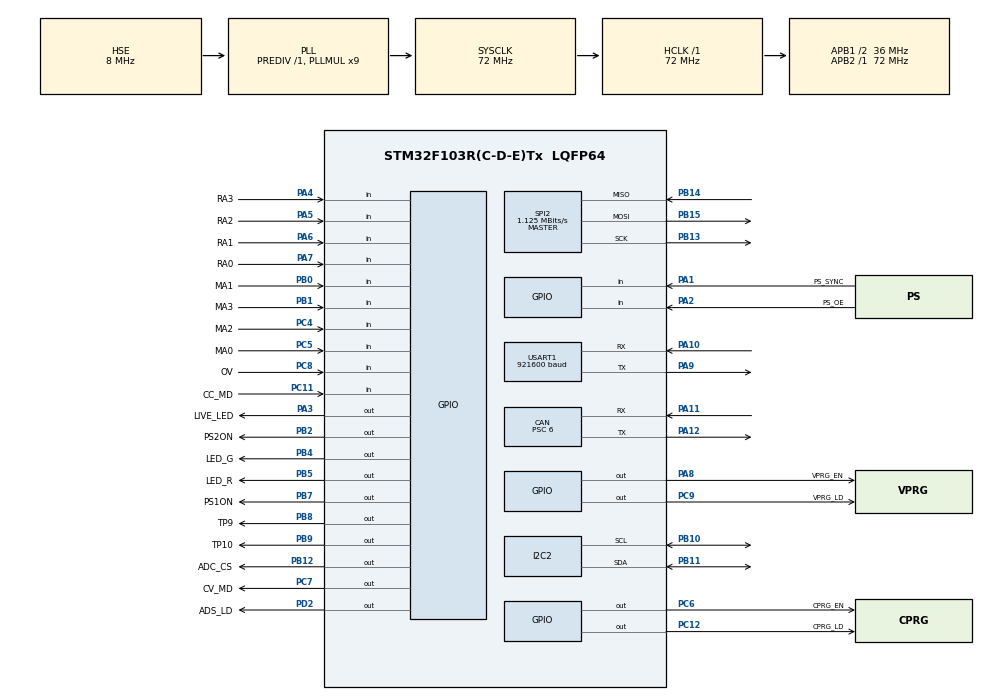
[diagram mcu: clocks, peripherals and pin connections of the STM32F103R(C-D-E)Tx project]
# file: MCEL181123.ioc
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ADC1.Channel-0\#ChannelRegularConversion=ADC_CHANNEL_TEMPSENSOR
ADC1.ContinuousConvMode=ENABLE
ADC1.NbrOfConversionFlag=1
ADC1.Rank-0\#ChannelRegularConversion=1
ADC1.SamplingTime-0\#ChannelRegularConversion=ADC_SAMPLETIME_41CYCLES_5
ADC1.master=1
CAN.BS1=CAN_BS1_8TQ
CAN.BS2=CAN_BS2_3TQ
CAN.CalculateTimeBit=2000
CAN.CalculateTimeQuantum=166.66666666666669
CAN.Prescaler=6
Mcu.Family=STM32F1
Mcu.Name=STM32F103R(C-D-E)Tx
Mcu.Package=LQFP64
NVIC.PriorityGroup=NVIC_PRIORITYGROUP_4
NVIC.USB_LP_CAN1_RX0_IRQn=true\:2\:0\:true\:false\:true\:true\:true
PA1.GPIO_Label=PS_SYNC
PA1.Signal=GPIO_Input
PA10.Mode=Asynchronous
PA10.Signal=USART1_RX
PA11.Mode=Master
PA11.Signal=CAN_RX
PA12.Mode=Master
PA12.Signal=CAN_TX
PA13.Mode=Trace_Asynchronous_SW
PA13.Signal=SYS_JTMS-SWDIO
PA14.Mode=Trace_Asynchronous_SW
PA14.Signal=SYS_JTCK-SWCLK
PA2.GPIO_Label=PS_OE
PA2.Signal=GPIO_Input
PA3.GPIO_Label=LIVE_LED
PA3.Signal=GPIO_Output
PA4.GPIO_Label=RA3
PA4.GPIO_PuPd=GPIO_PULLDOWN
PA4.Signal=GPIO_Input
PA5.GPIO_Label=RA2
PA5.GPIO_PuPd=GPIO_PULLDOWN
PA5.Signal=GPIO_Input
PA6.GPIO_Label=RA1
PA6.GPIO_PuPd=GPIO_PULLDOWN
PA6.Signal=GPIO_Input
PA7.GPIO_Label=RA0
PA7.GPIO_PuPd=GPIO_PULLDOWN
PA7.Signal=GPIO_Input
PA8.GPIO_Label=VPRG_EN
PA8.GPIO_ModeDefaultOutputPP=GPIO_MODE_OUTPUT_OD
PA8.GPIO_Speed=GPIO_SPEED_FREQ_HIGH
PA8.PinState=GPIO_PIN_SET
PA8.Signal=GPIO_Output
PA9.Mode=Asynchronous
PA9.Signal=USART1_TX
PB0.GPIO_Label=MA1
PB0.GPIO_PuPd=GPIO_PULLDOWN
PB0.Signal=GPIO_Input
PB1.GPIO_Label=MA3
PB1.GPIO_PuPd=GPIO_PULLDOWN
PB1.Signal=GPIO_Input
PB10.Mode=I2C
PB10.Signal=I2C2_SCL
PB11.Mode=I2C
PB11.Signal=I2C2_SDA
PB12.GPIO_Label=ADC_CS
PB12.GPIO_ModeDefaultOutputPP=GPIO_MODE_OUTPUT_OD
PB12.GPIO_Speed=GPIO_SPEED_FREQ_HIGH
PB12.PinState=GPIO_PIN_SET
PB12.Signal=GPIO_Output
PB13.Mode=Full_Duplex_Master
PB13.Signal=SPI2_SCK
PB14.Mode=Full_Duplex_Master
PB14.Signal=SPI2_MISO
PB15.Mode=Full_Duplex_Master
PB15.Signal=SPI2_MOSI
PB2.GPIO_Label=PS2ON
PB2.Signal=GPIO_Output
PB3.Mode=Trace_Asynchronous_SW
PB3.Signal=SYS_JTDO-TRACESWO
PB4.GPIO_Label=LED_G
PB4.Signal=GPIO_Output
PB5.GPIO_Label=LED_R
PB5.Signal=GPIO_Output
PB7.GPIO_Label=PS1ON
PB7.Signal=GPIO_Output
PB8.GPIO_Label=TP9
PB8.Signal=GPIO_Output
PB9.GPIO_Label=TP10
PB9.Signal=GPIO_Output
PC11.GPIO_Label=CC_MD
PC11.Signal=GPIO_Input
PC12.GPIO_Label=CPRG_LD
PC12.GPIO_ModeDefaultOutputPP=GPIO_MODE_OUTPUT_OD
PC12.GPIO_Speed=GPIO_SPEED_FREQ_HIGH
PC12.PinState=GPIO_PIN_SET
PC12.Signal=GPIO_Output
PC4.GPIO_Label=MA2
PC4.GPIO_PuPd=GPIO_PULLDOWN
PC4.Signal=GPIO_Input
PC5.GPIO_Label=MA0
PC5.GPIO_PuPd=GPIO_PULLDOWN
PC5.Signal=GPIO_Input
PC6.GPIO_Label=CPRG_EN
PC6.GPIO_ModeDefaultOutputPP=GPIO_MODE_OUTPUT_OD
PC6.GPIO_Speed=GPIO_SPEED_FREQ_HIGH
PC6.PinState=GPIO_PIN_SET
PC6.Signal=GPIO_Output
PC7.GPIO_Label=CV_MD
PC7.Signal=GPIO_Output
PC8.GPIO_Label=OV
PC8.Signal=GPIO_Input
PC9.GPIO_Label=VPRG_LD
PC9.GPIO_ModeDefaultOutputPP=GPIO_MODE_OUTPUT_OD
PC9.GPIO_Speed=GPIO_SPEED_FREQ_HIGH
PC9.PinState=GPIO_PIN_SET
PC9.Signal=GPIO_Output
PD0-OSC_IN.Mode=HSE-External-Oscillator
PD0-OSC_IN.Signal=RCC_OSC_IN
PD1-OSC_OUT.Mode=HSE-External-Oscillator
PD1-OSC_OUT.Signal=RCC_OSC_OUT
PD2.GPIO_Label=ADS_LD
PD2.GPIO_ModeDefaultOutputPP=GPIO_MODE_OUTPUT_OD
PD2.GPIO_Speed=GPIO_SPEED_FREQ_HIGH
PD2.Signal=GPIO_Output
ProjectManager.HeapSize=0x200
ProjectManager.StackSize=0x400
ProjectManager.TargetToolchain=STM32CubeIDE
RCC.ADCPresc=RCC_ADCPCLK2_DIV6
RCC.AHBFreq_Value=72000000
RCC.APB1CLKDivider=RCC_HCLK_DIV2
RCC.APB1Freq_Value=36000000
RCC.APB1TimFreq_Value=72000000
RCC.APB2Freq_Value=72000000
RCC.APB2TimFreq_Value=72000000
RCC.HCLKFreq_Value=72000000
RCC.PLLMUL=RCC_PLL_MUL9
RCC.PLLSourceVirtual=RCC_PLLSOURCE_HSE
RCC.SYSCLKFreq_VALUE=72000000
RCC.SYSCLKSource=RCC_SYSCLKSOURCE_PLLCLK
RCC.USBFreq_Value=72000000
SPI2.BaudRatePrescaler=SPI_BAUDRATEPRESCALER_32
SPI2.CLKPhase=SPI_PHASE_1EDGE
SPI2.CLKPolarity=SPI_POLARITY_LOW
SPI2.CalculateBaudRate=1.125 MBits/s
SPI2.Direction=SPI_DIRECTION_2LINES
SPI2.Mode=SPI_MODE_MASTER
SPI2.VirtualType=VM_MASTER
USART1.BaudRate=921600
USART1.VirtualMode=VM_ASYNC
VP_ADC1_TempSens_Input.Mode=IN-TempSens
board=custom

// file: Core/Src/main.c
/* USER CODE BEGIN Header */
/*
 * main.c
 *
 *  Created on: 2020. márc. 6.
 *      Author: Margit Robert
 */
/* USER CODE END Header */

#include "main.h"

/* USER CODE BEGIN Includes */
#include <stdio.h>
#include <string.h>
#include "common.h"
#include "LiveLed.h"
#include "memory.h"
#include "FlashStore.h"
/* USER CODE END Includes */

ADC_HandleTypeDef hadc1;

CAN_HandleTypeDef hcan;

I2C_HandleTypeDef hi2c2;

SPI_HandleTypeDef hspi2;

UART_HandleTypeDef huart1;

/* USER CODE BEGIN PV */
DeviceTypeDef Device;
LiveLED_HnadleTypeDef hLiveLed;
LedHandle_Type        hLed;

/* USER CODE END PV */

void SystemClock_Config(void);
static void MX_GPIO_Init(void);
static void MX_ADC1_Init(void);
static void MX_CAN_Init(void);
static void MX_I2C2_Init(void);
static void MX_SPI2_Init(void);
static void MX_USART1_UART_Init(void);
/* USER CODE BEGIN PFP */
void LiveLedOff(void);
void LiveLedOn(void);
void LedGreenOn(void);
void LedGreenOff(void);
void LedRedOn(void);
void LedRedOff(void);

void DebugTask(void);
uint8_t GetAddress(void);

void SwitchesSet(uint8_t mask);
void SwitchesClear(uint8_t mask);
uint8_t SelectorGet(void);
void SwitchesUpdate(uint8_t value);
uint32_t AdcGetValue(void);
double AdcGetVoltGen(void);
double AdcGetVolt(void);
uint32_t VDacSetVolt(float volt);
void VDacSet(uint16_t data);
uint32_t CDacSetVolt(float volt);
void CDacSet(uint16_t data);

void Ps1On(void);
void Ps1Off(void);
void Ps2On(void);
void Ps2Off(void);

float Mcp9800Meas(I2C_HandleTypeDef *hi2c);
void Mcp9800Config (I2C_HandleTypeDef *hi2c);

float AdCCmeasControllerTemp(ADC_HandleTypeDef *hadc);

void CanDiagTask(CanHandle_Type *context);

uint8_t CanNetLowLevelTxMailboxIsEmpty(void);

LedItem_Type LedList[] = {
  { HMI_LED_GREEN,    &LedGreenOn,     &LedGreenOff,    },
  { HMI_LED_RED,      &LedRedOn,       &LedRedOff,      },
};

/* USER CODE END PFP */

/* USER CODE BEGIN 0 */
#define TIME_RESOLTUIN_MS 5

void CalibrationOff(void)
{
    Device.Calib.SET01 = 0;
    Device.Calib.SET02 = 0;
    Device.Calib.SET03 = 0;
    Device.Calib.SET04 = 0;
    Device.Calib.SET05 = 0;
    Device.Calib.SET06 = 0;
    Device.Calib.SET07 = 0;
    Device.Calib.SET08 = 0;
    Device.Calib.SET09 = 1;
    Device.Calib.SET10 = 1;
    Device.Calib.SET11 = 1;
    Device.Calib.SET12 = 1;
}

void CalibrationDefault(void)
{
    Device.Calib.SET01 = 0;        /*ReadCvOffsetErr_SET0001*/
    Device.Calib.SET02 = 0;        /*ProgCvOffsetErr_SET0002*/
    Device.Calib.SET03 = 0;        /*ReadCvGainErr_SET0003*/
    Device.Calib.SET04 = 0;        /*ProgCvGainErr_SET0004*/
    Device.Calib.SET05 = 0.008;    /*ReadCcOffsetErrRng0_SET0005*/
    Device.Calib.SET06 = 0.002;    /*ReadCcOffsetErrRng1_SET0006*/
    Device.Calib.SET07 = 0;        /*ProgCcOffsetErrRng0_SET0007*/
    Device.Calib.SET08 = 0;        /*ProgCcOffsetErrRng1_SET0008*/
    Device.Calib.SET09 = 0.9933;   /*ReadCcGainErrRng0_SET0009*/
    Device.Calib.SET10 = 1;        /*ProgCctGainErrRng0_SET0010*/
    Device.Calib.SET11 = 1.0030;   /*ReadCcGainErrRng1_SET0011*/
    Device.Calib.SET12 = 1;        /*ProgCcGainErrRng1_SET0012*/
}

void CalibrationSave(void)
{
  if (FlashStoreWrite(FLASH_STORE_CALIB_PAGE_ADDR, &Device.Calib, sizeof(Device.Calib)) != FLASH_STORE_OK)
  {
    DeviceDbgLog("CalibrationSave: Success");
  }
  else
  {
    DeviceDbgLog("CalibrationSave: Fail");
  }
}

void UpdateStatus(void)
{
  CanNetSendSignal(&Device.CanNet, Device.ThisNode, 0, MSG_MCEL_RANGE,  &Device.PowerCtrl.Range); /*0x03*/
  CanNetSendSignal(&Device.CanNet, Device.ThisNode, 0, MSG_MCEL_TEMP_TR,&Device.TransistorTemp);  /*0x05*/
  CanNetSendSignal(&Device.CanNet, Device.ThisNode, 0, MSG_MCEL_TEMP_UC,&Device.ControllerTemp);  /*0x06*/
  CanNetSendSignal(&Device.CanNet, Device.ThisNode, 0, MSG_MCEL_STA_CC, &Device.PowerCtrl.CC);    /*0x07*/
  CanNetSendSignal(&Device.CanNet, Device.ThisNode, 0, MSG_MCEL_STA_CV, &Device.PowerCtrl.CV);    /*0x08*/
  CanNetSendSignal(&Device.CanNet, Device.ThisNode, 0, MSG_MCEL_STA_OE, &Device.PowerCtrl.OE);    /*0x09*/
  CanNetSendSignal(&Device.CanNet, Device.ThisNode, 0, MSG_MCEL_VER,    &Device.Version);         /*0xFE*/
}

/* Events  -------------------------------------------------------------------*/
void RxTestMsgIncomeEvent(void)
{
  Device.Can.RxTestCnt++;
}

void ChangedEventCVprog(uint8_t node)
{
  uint32_t code = VDacSetVolt(Device.PowerCtrl.CVprog);
  DeviceDbgLog("ChangedEventCVprog: %f -> 0x%05lX", Device.PowerCtrl.CVprog, code);
}

void ChangedEventCCprog(uint8_t node)
{
  if(Device.PowerCtrl.Range == 0)
  {/*mivel a 100mA-es méréshatárnál a shunt 5OHM és igy 5V => 100mA*/
    /*** 0 ... 99.999***/
    Device.PowerCtrl.CCprog /= 20;
  }
  else if(Device.PowerCtrl.Range == 1)
  { /*** 0 ... 49.999 ***/
    Device.PowerCtrl.CCprog /= 10;
  }
  uint32_t code = CDacSetVolt(Device.PowerCtrl.CCprog);
  DeviceDbgLog("ChangedEventCCprog: %f -> 0x%05lX", Device.PowerCtrl.CCprog, code);
}

void ChangedEventCrng(uint8_t node)
{
  if(Device.PowerCtrl.Range == 0)
  {
    SwitchesClear(BSP_RY2_MASK);
    SwitchesSet(BSP_RY1_MASK);
  }
  else if(Device.PowerCtrl.Range == 1)
  {
    SwitchesClear(BSP_RY1_MASK);
    SwitchesSet(BSP_RY2_MASK);
  }
  DeviceDbgLog("ChangedEventCrng: %d", Device.PowerCtrl.Range);
}

void ChangedEventRSense(uint8_t node)
{
  if(Device.PowerCtrl.RSense)
  {
    SwitchesSet(BSP_RY4RY5_MASK);
    DeviceDbgLog("ChangedEventRSense: ON");
  }
  else
  {
    SwitchesClear(BSP_RY4RY5_MASK);
    DeviceDbgLog("ChangedEventRSense: OFF");
  }
}

void ChangedEventOE(uint8_t node)
{
  if(Device.PowerCtrl.OE == MCEL_OE_TYPE_ON)
  {
    /*** previoius sates set back */
    ChangedEventRSense(0);
    ChangedEventCVprog(0);
    /*** 12V ON ***/
    Ps2On();
    DeviceDbgLog("ChangedEventOE: ON");
  }
  else if (Device.PowerCtrl.OE == MCEL_OE_TYPE_OFF)
  {
    VDacSetVolt(0);
    /*** 12V OFF ***/
    Ps2Off();
    /*** SNESE OFF ***/
    SwitchesClear(BSP_RY4RY5_MASK);
    DeviceDbgLog("ChangedEventOE: OFF");
  }
  else if (Device.PowerCtrl.OE == MCEL_OE_TYPE_UP)
  {
    ChangedEventRSense(0);
    /*** 12V ON ***/
    Ps2On();
    PowerCtrl_Type *ctrl = &Device.PowerCtrl;
    ctrl->Speed.Iterations = 0;
    ctrl->Speed.IsCplt = 0;
    ctrl->Speed.Timestamp = HAL_GetTick();
    ctrl->Speed.Step =  (ctrl->Speed.UpSp/1000) * TIME_RESOLTUIN_MS;
    ctrl->Speed.TotalIter = ctrl->CVprog / ctrl->Speed.Step;
    ctrl->Speed.OutVolt = 0;
    DeviceDbgLog("ChangedEventOE: RiseUp");
  }
  else if (Device.PowerCtrl.OE == MCEL_OE_TYPE_DOWN)
  {
    ChangedEventRSense(0);
    /*** 12V ON ***/
    Ps2On();
    PowerCtrl_Type *ctrl = &Device.PowerCtrl;
    ctrl->Speed.Iterations = 0;
    ctrl->Speed.IsCplt = 0;
    ctrl->Speed.Timestamp = HAL_GetTick();
    ctrl->Speed.Step =  (ctrl->Speed.DownSp/1000) * TIME_RESOLTUIN_MS;
    ctrl->Speed.TotalIter = ctrl->CVprog / ctrl->Speed.Step;
    ctrl->Speed.OutVolt = ctrl->CVprog;
    DeviceDbgLog("ChangedEventOE: RiseDown");
  }
}

void ChangedEventGD(uint8_t node)
{
  if (Device.PowerCtrl.GD == 0)
  {
    SwitchesSet(BSP_GUARD);
    DeviceDbgLog("ChangedEventGD: OFF");
  }
  else
  {
    SwitchesClear(BSP_GUARD);
    DeviceDbgLog("ChangedEventGD: ON");
  }
}

void ChangedEventTrigger(uint8_t node)
{
  if(Device.PowerCtrl.Trigger == MEAS_MODE_CV)
  {/*** Trigger meas output volt***/
      SwitchesClear(BSP_U11B_MASK);
      SwitchesSet(BSP_U11D_MASK);
  }
  else if (Device.PowerCtrl.Trigger == MEAS_MODE_CC)
  {/*** Trigger meas output current ***/
      SwitchesClear(BSP_U11D_MASK);
      SwitchesSet(BSP_U11B_MASK);
  }
  else if(Device.PowerCtrl.Trigger == MEAS_MODE_CC_OFFSET)
  {
    /*** Trigger meas output current offset ***/
      SwitchesClear(BSP_U11D_MASK | BSP_RY1_MASK | BSP_RY2_MASK);
      SwitchesSet(BSP_U11B_MASK);
  }
  else if(Device.PowerCtrl.Trigger == MEAS_MODE_CC_ST_R79)
  {   /*** Trigger measure current on  MEAS_MODE_CC_ST_R79 ***/
      SwitchesClear(BSP_U11D_MASK |
                       BSP_RY1_MASK |
                       BSP_RY4RY5_MASK |
                       BSP_RY3_MASK);
      SwitchesSet(  BSP_U11B_MASK |
                       BSP_RY2_MASK |
                       BSP_RY6_MASK);
  }
  else if(Device.PowerCtrl.Trigger == MEAS_MODE_CC_ST_R80)
  {  /*** Trigger measure current on  MEAS_MODE_CC_ST_R80 ***/
      SwitchesClear(BSP_U11D_MASK |
                       BSP_RY2_MASK |
                       BSP_RY4RY5_MASK|
                       BSP_RY6_MASK);
      SwitchesSet(  BSP_U11B_MASK |
                       BSP_RY1_MASK |
                       BSP_RY3_MASK);
  }

  DeviceDbgLog("ChangedEventTrigger: %d", Device.PowerCtrl.Trigger);
  if( Device.PowerCtrl.State.Curr == SDEV_IDLE)
  {
    Device.PowerCtrl.State.Next = SDEV_MEAS_START;
  }
  else
  {
    DeviceDbgLog("Trigger NotValid.");
  }
}

void ChangedEventServices(uint8_t node)
{
  DeviceDbgLog("ChangedEventServices: %ld", Device.ServiceCode);
  switch(Device.ServiceCode)
  {
    case SRV_RESTART:
    {
      NVIC_SystemReset();
      DeviceDbgLog("ChangedEventServices: NVIC_SystemReset");
      break;
    }
    case SRV_UPDATE_STATUS:
    {
      UpdateStatus();
      break;
    }
    case SRV_CALIB_SAVE:
    {
      CalibrationSave();
      break;
    }
    case SRV_CALIB_OFF:
    {
      CalibrationOff();
      break;
    }
    case SRV_CALIB_DEFAULT:
    {
      CalibrationDefault();
      break;
    }
  }
}

/* Power Control -------------------------------------------------------------*/
void PowerControlRiseUpTask(PowerCtrl_Type *ctrl)
{
  if((ctrl->OE == MCEL_OE_TYPE_UP || ctrl->OE == MCEL_OE_TYPE_DOWN) && !ctrl->Speed.IsCplt)
  {
    if(HAL_GetTick() - ctrl->Speed.Timestamp > TIME_RESOLTUIN_MS)
    {
      ctrl->Speed.Timestamp = HAL_GetTick();
      if(ctrl->Speed.Iterations > ctrl->Speed.TotalIter - 1)
      {
        ctrl->Speed.IsCplt = 1;
      }
      else
      {
        if(ctrl->OE == MCEL_OE_TYPE_UP)
        {
          ctrl->Speed.OutVolt += ctrl->Speed.Step;
          ctrl->Speed.Iterations++;
          VDacSetVolt(ctrl->Speed.OutVolt);
        }
        else if(ctrl->OE == MCEL_OE_TYPE_DOWN)
        {
          ctrl->Speed.OutVolt -= ctrl->Speed.Step;
          ctrl->Speed.Iterations++;
          VDacSetVolt(ctrl->Speed.OutVolt);
        }
      }
    }
  }
}

void PowerControlTask(PowerCtrl_Type *ctrl)
{
  static int32_t timestamp = 0;
  static double adcvalue = 0;
  char str[10];
  switch (ctrl->State.Curr)
  {
    case SDEV_START:
    {
      if(HAL_GetTick() - timestamp > 1000)
      {
        Ps1On(); /*+15V, -15V, 5.5V ON*/
        ctrl->CVprog = 0.0;
        if(HAL_GetTick() - timestamp > 2000)
        {
          ctrl->State.Next = SDEV_IDLE;
          DeviceDbgLog("PowerControlTask: SDEV_IDLE -> SDEV_OUTPUT_OFF");
        }
      }
      break;
    }

    case SDEV_DBG1:
    {
      SwitchesSet(BSP_RY1_MASK); /*** RANGE 5OHM ***/
      VDacSetVolt(2.5);
      CDacSetVolt(2.5);
      Ps2On(); /*** 12V ON ***/
      ctrl->State.Next = SDEV_IDLE;
      DeviceDbgLog("PowerControlTask: SDEV_DBG1 -> SDEV_IDLE");
      break;
    }
    case SDEV_DBG2:
    {
      Device.PowerCtrl.CVprog = 2.5;
      ChangedEventCVprog(0);

      Device.PowerCtrl.Range = 0;
      ChangedEventCrng(0);

      Device.PowerCtrl.CCprog = 99;
      ChangedEventCCprog(0);

      Device.PowerCtrl.OE = 1;
      ChangedEventOE(0);

      Device.PowerCtrl.Trigger = MEAS_MODE_CC_OFFSET;
      ChangedEventTrigger(0);
      DeviceDbgLog("PowerControlTask: SDEV_DBG2 -> SDEV_IDLE");
      break;
    }
    case SDEV_IDLE:
    {
      if(ctrl->State.Pre != ctrl->State.Curr)
      {
        DeviceDbgLog("PowerControlTask: SDEV_IDLE");
        LedGreenOn();
        LedRedOff();
      }
      break;
    }
    case SDEV_MEAS_START:
    {
      if(ctrl->State.Pre != ctrl->State.Curr)
      {
        timestamp = HAL_GetTick();
        LedRedOn();
        LedGreenOff();
      }
      if(HAL_GetTick() - timestamp > 20)
      {
        adcvalue = AdcGetVoltGen();
        ctrl->State.Next = SDEV_MEAS_BUSY;
        timestamp = HAL_GetTick();
        DeviceDbgLog("PowerControlTask: SDEV_MEAS_START -> SDEV_MEAS_BUSY");
      }
      break;
    }
    case SDEV_MEAS_BUSY:
    {
      if(HAL_GetTick() - timestamp > 250)
      {
        adcvalue = AdcGetVoltGen();
        if( adcvalue != -2)
        {
           ctrl->State.Next = SDEV_MEAS_CPLT;
           DeviceDbgLog("PowerControlTask: SDEV_MEAS_BUSY -> SDEV_MEAS_CPLT");
        }
      }
      break;
    }

    case SDEV_MEAS_CPLT:
    {
      if(ctrl->Trigger == MEAS_MODE_CV)
      {
        /*** Fromating 0 ... 4.9999 -> 4 3/4 ***/
        sprintf(str, "%0.5f", adcvalue);
        sscanf(str, "%6f", &ctrl->CVmeas);
        CanNetSendSignal(&Device.CanNet, Device.ThisNode, 0, MSG_MCEL_V_MEAS, &ctrl->CVmeas);
      }
      else if (ctrl->Trigger == MEAS_MODE_CC || ctrl->Trigger == MEAS_MODE_CC_ST_R79 || ctrl->Trigger == MEAS_MODE_CC_ST_R80 )
      {
          double ccmeas = adcvalue;
          if(ctrl->Range == 0 )
          { /*** 0.000 .. 99.999mA ***/
            ccmeas *= 20;
            ccmeas -= Device.Calib.SET05;
            ccmeas *= Device.Calib.SET09;
          }
          else if(ctrl->Range == 1)
          {/*** 0.000 .. 49.999uA ***/
            ccmeas *= 10;
            ccmeas -= Device.Calib.SET06;
            ccmeas *= Device.Calib.SET11;
          }
          /*** Formatting  0 ... XX.XXX ***/
          sprintf(str, "%06.3f", ccmeas);
          sscanf(str, "%6f", &ctrl->CCmeas);
          CanNetSendSignal(&Device.CanNet, Device.ThisNode, 0, MSG_MCEL_C_MEAS, &ctrl->CCmeas);
       }
       else if(ctrl->Trigger == MEAS_MODE_CC_OFFSET)
       {
          ctrl->CCoffset = adcvalue;
          CanNetSendSignal(&Device.CanNet, Device.ThisNode, 0, MSG_MCEL_OFFSET,  &ctrl->CCoffset);
       }
      ctrl->State.Next = SDEV_IDLE;
      DeviceDbgLog("PowerControlTask: SDEV_MEAS_CPLT -> SDEV_IDLE");
      break;
    }
  }
  ctrl->State.Pre = ctrl->State.Curr;
  ctrl->State.Curr = ctrl->State.Next;
}

/* Common Tasks --------------------------------------------------------------------*/
void UpTimeIncrementTask(void)
{
  static int32_t timestamp = 0;
//  char string[80];

  if((HAL_GetTick() - timestamp) >= 1000)
  {
    timestamp = HAL_GetTick();
    Device.UpTimeSec++;

//    SwitchesSet(BSP_RY1_MASK); /*** RANGE 5OHM ***/
//    VDacSetVolt(2.5);
//    CDacSetVolt(2.5);
//
//    uint32_t temp = AdcGetValue();
//    sprintf(string, "0x%lX\r\n", temp);
//    ConsoleWrite(string);
//
//    sprintf(string, "%f\r\n", AdcGetVolt());
//    ConsoleWrite(string);
  }
}

void TempsMeasTask(void)
{
  static int32_t timestamp = 0;

  if((HAL_GetTick() - timestamp) >= 1000)
  {
    timestamp = HAL_GetTick();
    Device.ControllerTemp = AdCCmeasControllerTemp(&Device.Adc);
    Device.TransistorTemp = Mcp9800Meas(&hi2c2);
  }
}

float AdCCmeasControllerTemp(ADC_HandleTypeDef *hadc)
{
  uint32_t lsbs = HAL_ADC_GetValue(hadc);
  return (lsbs * 0.0141);
}

/* USER CODE END 0 */

int main(void)
{

  /* MCU Configuration--------------------------------------------------------*/

  /* Reset of all peripherals, Initializes the Flash interface and the Systick. */
  HAL_Init();

  /* Configure the system clock */
  SystemClock_Config();

  /* Initialize all configured peripherals */
  MX_GPIO_Init();
  MX_ADC1_Init();
  MX_CAN_Init();
  MX_I2C2_Init();
  MX_SPI2_Init();
  MX_USART1_UART_Init();
  /* USER CODE BEGIN 2 */

  printf(VT100_CLEARSCREEN);
  printf(VT100_CURSORHOME);
  printf(VT100_ATTR_RESET);

#ifdef DEBUG
  printf(VT100_ATTR_RED);
    DeviceUsrLog("This is a DEBUG version.");
  printf(VT100_ATTR_RESET);
#endif

  DeviceUsrLog("Manufacturer:%s, Name:%s, Version:%s", DEVICE_MNF, DEVICE_NAME, DEVICE_FW);
  /*** Leds ***/
  hLed.pLedTable = LedList;
  hLed.Records = sizeof(LedList)/sizeof(LedItem_Type);
  LedInit(&hLed);
  LedOff(&hLed, DEVICE_FAIL_LED);

  CanNetInit(&Device.CanNet, NODE_MCEL, Device.ThisNode, Messages, CanNetMessagesCount());

  /*** LiveLed ***/
  hLiveLed.LedOffFnPtr = &LiveLedOff;
  hLiveLed.LedOnFnPtr = &LiveLedOn;
  hLiveLed.HalfPeriodTimeMs = 500;
  LiveLedInit(&hLiveLed);

  Device.PowerCtrl.OE = MCEL_OE_TYPE_ON;

  CalibrationOff();

  /* USER CODE END 2 */

  /* Infinite loop */
  /* USER CODE BEGIN WHILE */
  while (1)
  {
    uint32_t timestamp = HAL_GetTick();

    LiveLedTask(&hLiveLed);
    LedTask(&hLed);

    CanNetTask(&Device.CanNet);
    UpTimeIncrementTask();
    CanDiagTask(&Device.Can);
    TempsMeasTask();
  //Device.TransistorTemp = 3.51;
  //Device.ControllerTemp = 3.51;
    PowerControlTask(&Device.PowerCtrl);
    PowerControlRiseUpTask(&Device.PowerCtrl);

    Device.Status.MainCycleTime = HAL_GetTick() - timestamp;

    /* USER CODE END WHILE */

  }
}

void SystemClock_Config(void)
{
  RCC_OscInitTypeDef RCC_OscInitStruct = {0};
  RCC_ClkInitTypeDef RCC_ClkInitStruct = {0};
  RCC_PeriphCLKInitTypeDef PeriphClkInit = {0};

  /** Initializes the CPU, AHB and APB busses clocks
  */
  RCC_OscInitStruct.OscillatorType = RCC_OSCILLATORTYPE_HSE;
  RCC_OscInitStruct.HSEState = RCC_HSE_ON;
  RCC_OscInitStruct.HSEPredivValue = RCC_HSE_PREDIV_DIV1;
  RCC_OscInitStruct.HSIState = RCC_HSI_ON;
  RCC_OscInitStruct.PLL.PLLState = RCC_PLL_ON;
  RCC_OscInitStruct.PLL.PLLSource = RCC_PLLSOURCE_HSE;
  RCC_OscInitStruct.PLL.PLLMUL = RCC_PLL_MUL9;
  if (HAL_RCC_OscConfig(&RCC_OscInitStruct) != HAL_OK)
  {
    Error_Handler();
  }
  /** Initializes the CPU, AHB and APB busses clocks
  */
  RCC_ClkInitStruct.ClockType = RCC_CLOCKTYPE_HCLK|RCC_CLOCKTYPE_SYSCLK
                              |RCC_CLOCKTYPE_PCLK1|RCC_CLOCKTYPE_PCLK2;
  RCC_ClkInitStruct.SYSCLKSource = RCC_SYSCLKSOURCE_PLLCLK;
  RCC_ClkInitStruct.AHBCLKDivider = RCC_SYSCLK_DIV1;
  RCC_ClkInitStruct.APB1CLKDivider = RCC_HCLK_DIV2;
  RCC_ClkInitStruct.APB2CLKDivider = RCC_HCLK_DIV1;

  if (HAL_RCC_ClockConfig(&RCC_ClkInitStruct, FLASH_LATENCY_2) != HAL_OK)
  {
    Error_Handler();
  }
  PeriphClkInit.PeriphClockSelection = RCC_PERIPHCLK_ADC;
  PeriphClkInit.AdcClockSelection = RCC_ADCPCLK2_DIV6;
  if (HAL_RCCEx_PeriphCLKConfig(&PeriphClkInit) != HAL_OK)
  {
    Error_Handler();
  }
}

static void MX_ADC1_Init(void)
{

  ADC_ChannelConfTypeDef sConfig = {0};

  /** Common config
  */
  hadc1.Instance = ADC1;
  hadc1.Init.ScanConvMode = ADC_SCAN_DISABLE;
  hadc1.Init.ContinuousConvMode = ENABLE;
  hadc1.Init.DiscontinuousConvMode = DISABLE;
  hadc1.Init.ExternalTrigConv = ADC_SOFTWARE_START;
  hadc1.Init.DataAlign = ADC_DATAALIGN_RIGHT;
  hadc1.Init.NbrOfConversion = 1;
  if (HAL_ADC_Init(&hadc1) != HAL_OK)
  {
    Error_Handler();
  }
  /** Configure Regular Channel
  */
  sConfig.Channel = ADC_CHANNEL_TEMPSENSOR;
  sConfig.Rank = ADC_REGULAR_RANK_1;
  sConfig.SamplingTime = ADC_SAMPLETIME_41CYCLES_5;
  if (HAL_ADC_ConfigChannel(&hadc1, &sConfig) != HAL_OK)
  {
    Error_Handler();
  }

}

static void MX_CAN_Init(void)
{

  hcan.Instance = CAN1;
  hcan.Init.Prescaler = 6;
  hcan.Init.Mode = CAN_MODE_NORMAL;
  hcan.Init.SyncJumpWidth = CAN_SJW_1TQ;
  hcan.Init.TimeSeg1 = CAN_BS1_8TQ;
  hcan.Init.TimeSeg2 = CAN_BS2_3TQ;
  hcan.Init.TimeTriggeredMode = DISABLE;
  hcan.Init.AutoBusOff = DISABLE;
  hcan.Init.AutoWakeUp = DISABLE;
  hcan.Init.AutoRetransmission = DISABLE;
  hcan.Init.ReceiveFifoLocked = DISABLE;
  hcan.Init.TransmitFifoPriority = DISABLE;
  if (HAL_CAN_Init(&hcan) != HAL_OK)
  {
    Error_Handler();
  }
  /* USER CODE BEGIN CAN_Init 2 */
  CAN_FilterTypeDef  sFilterConfig;

  /* Configure the CAN Filter */
  sFilterConfig.FilterBank = 0;
  sFilterConfig.FilterMode = CAN_FILTERMODE_IDMASK;
  sFilterConfig.FilterScale = CAN_FILTERSCALE_32BIT;

  sFilterConfig.FilterIdHigh = 0x00;
  sFilterConfig.FilterIdLow = 0x00;

  sFilterConfig.FilterMaskIdHigh = 0x00;
  sFilterConfig.FilterMaskIdLow = 0x00;

  sFilterConfig.FilterFIFOAssignment = CAN_RX_FIFO0;
  sFilterConfig.FilterActivation = ENABLE;
  sFilterConfig.SlaveStartFilterBank = 14;

  if (HAL_CAN_ConfigFilter(&hcan, &sFilterConfig) != HAL_OK)
    DeviceErrLog("HAL_CAN_ConfigFilter");

  if (HAL_CAN_Start(&hcan) != HAL_OK)
    DeviceErrLog("HAL_CAN_Start");

  HAL_CAN_ActivateNotification(&hcan, CAN_IT_RX_FIFO0_MSG_PENDING);

  /* USER CODE END CAN_Init 2 */

}

static void MX_I2C2_Init(void)
{

  hi2c2.Instance = I2C2;
  hi2c2.Init.ClockSpeed = 100000;
  hi2c2.Init.DutyCycle = I2C_DUTYCYCLE_2;
  hi2c2.Init.OwnAddress1 = 0;
  hi2c2.Init.AddressingMode = I2C_ADDRESSINGMODE_7BIT;
  hi2c2.Init.DualAddressMode = I2C_DUALADDRESS_DISABLE;
  hi2c2.Init.OwnAddress2 = 0;
  hi2c2.Init.GeneralCallMode = I2C_GENERALCALL_DISABLE;
  hi2c2.Init.NoStretchMode = I2C_NOSTRETCH_DISABLE;
  if (HAL_I2C_Init(&hi2c2) != HAL_OK)
  {
    Error_Handler();
  }

}

static void MX_SPI2_Init(void)
{

  /* SPI2 parameter configuration*/
  hspi2.Instance = SPI2;
  hspi2.Init.Mode = SPI_MODE_MASTER;
  hspi2.Init.Direction = SPI_DIRECTION_2LINES;
  hspi2.Init.DataSize = SPI_DATASIZE_8BIT;
  hspi2.Init.CLKPolarity = SPI_POLARITY_LOW;
  hspi2.Init.CLKPhase = SPI_PHASE_1EDGE;
  hspi2.Init.NSS = SPI_NSS_SOFT;
  hspi2.Init.BaudRatePrescaler = SPI_BAUDRATEPRESCALER_32;
  hspi2.Init.FirstBit = SPI_FIRSTBIT_MSB;
  hspi2.Init.TIMode = SPI_TIMODE_DISABLE;
  hspi2.Init.CRCCalculation = SPI_CRCCALCULATION_DISABLE;
  hspi2.Init.CRCPolynomial = 10;
  if (HAL_SPI_Init(&hspi2) != HAL_OK)
  {
    Error_Handler();
  }

}

static void MX_USART1_UART_Init(void)
{

  huart1.Instance = USART1;
  huart1.Init.BaudRate = 921600;
  huart1.Init.WordLength = UART_WORDLENGTH_8B;
  huart1.Init.StopBits = UART_STOPBITS_1;
  huart1.Init.Parity = UART_PARITY_NONE;
  huart1.Init.Mode = UART_MODE_TX_RX;
  huart1.Init.HwFlowCtl = UART_HWCONTROL_NONE;
  huart1.Init.OverSampling = UART_OVERSAMPLING_16;
  if (HAL_UART_Init(&huart1) != HAL_OK)
  {
    Error_Handler();
  }

}

static void MX_GPIO_Init(void)
{
  GPIO_InitTypeDef GPIO_InitStruct = {0};

  /* GPIO Ports Clock Enable */
  __HAL_RCC_GPIOD_CLK_ENABLE();
  __HAL_RCC_GPIOA_CLK_ENABLE();
  __HAL_RCC_GPIOC_CLK_ENABLE();
  __HAL_RCC_GPIOB_CLK_ENABLE();

  /*Configure GPIO pin Output Level */
  HAL_GPIO_WritePin(LIVE_LED_GPIO_Port, LIVE_LED_Pin, GPIO_PIN_RESET);

  /*Configure GPIO pin Output Level */
  HAL_GPIO_WritePin(GPIOB, PS2ON_Pin|LED_G_Pin|LED_R_Pin|PS1ON_Pin
                          |TP9_Pin|TP10_Pin, GPIO_PIN_RESET);

  /*Configure GPIO pin Output Level */
  HAL_GPIO_WritePin(ADC_CS_GPIO_Port, ADC_CS_Pin, GPIO_PIN_SET);

  /*Configure GPIO pin Output Level */
  HAL_GPIO_WritePin(GPIOC, CPRG_EN_Pin|VPRG_LD_Pin|CPRG_LD_Pin, GPIO_PIN_SET);

  /*Configure GPIO pin Output Level */
  HAL_GPIO_WritePin(CV_MD_GPIO_Port, CV_MD_Pin, GPIO_PIN_RESET);

  /*Configure GPIO pin Output Level */
  HAL_GPIO_WritePin(VPRG_EN_GPIO_Port, VPRG_EN_Pin, GPIO_PIN_SET);

  /*Configure GPIO pin Output Level */
  HAL_GPIO_WritePin(ADS_LD_GPIO_Port, ADS_LD_Pin, GPIO_PIN_RESET);

  /*Configure GPIO pins : PS_SYNC_Pin PS_OE_Pin */
  GPIO_InitStruct.Pin = PS_SYNC_Pin|PS_OE_Pin;
  GPIO_InitStruct.Mode = GPIO_MODE_INPUT;
  GPIO_InitStruct.Pull = GPIO_NOPULL;
  HAL_GPIO_Init(GPIOA, &GPIO_InitStruct);

  /*Configure GPIO pin : LIVE_LED_Pin */
  GPIO_InitStruct.Pin = LIVE_LED_Pin;
  GPIO_InitStruct.Mode = GPIO_MODE_OUTPUT_PP;
  GPIO_InitStruct.Pull = GPIO_NOPULL;
  GPIO_InitStruct.Speed = GPIO_SPEED_FREQ_LOW;
  HAL_GPIO_Init(LIVE_LED_GPIO_Port, &GPIO_InitStruct);

  /*Configure GPIO pins : RA3_Pin RA2_Pin RA1_Pin RA0_Pin */
  GPIO_InitStruct.Pin = RA3_Pin|RA2_Pin|RA1_Pin|RA0_Pin;
  GPIO_InitStruct.Mode = GPIO_MODE_INPUT;
  GPIO_InitStruct.Pull = GPIO_PULLDOWN;
  HAL_GPIO_Init(GPIOA, &GPIO_InitStruct);

  /*Configure GPIO pins : MA2_Pin MA0_Pin */
  GPIO_InitStruct.Pin = MA2_Pin|MA0_Pin;
  GPIO_InitStruct.Mode = GPIO_MODE_INPUT;
  GPIO_InitStruct.Pull = GPIO_PULLDOWN;
  HAL_GPIO_Init(GPIOC, &GPIO_InitStruct);

  /*Configure GPIO pins : MA1_Pin MA3_Pin */
  GPIO_InitStruct.Pin = MA1_Pin|MA3_Pin;
  GPIO_InitStruct.Mode = GPIO_MODE_INPUT;
  GPIO_InitStruct.Pull = GPIO_PULLDOWN;
  HAL_GPIO_Init(GPIOB, &GPIO_InitStruct);

  /*Configure GPIO pins : PS2ON_Pin LED_G_Pin LED_R_Pin PS1ON_Pin
                           TP9_Pin TP10_Pin */
  GPIO_InitStruct.Pin = PS2ON_Pin|LED_G_Pin|LED_R_Pin|PS1ON_Pin
                          |TP9_Pin|TP10_Pin;
  GPIO_InitStruct.Mode = GPIO_MODE_OUTPUT_PP;
  GPIO_InitStruct.Pull = GPIO_NOPULL;
  GPIO_InitStruct.Speed = GPIO_SPEED_FREQ_LOW;
  HAL_GPIO_Init(GPIOB, &GPIO_InitStruct);

  /*Configure GPIO pin : ADC_CS_Pin */
  GPIO_InitStruct.Pin = ADC_CS_Pin;
  GPIO_InitStruct.Mode = GPIO_MODE_OUTPUT_OD;
  GPIO_InitStruct.Pull = GPIO_NOPULL;
  GPIO_InitStruct.Speed = GPIO_SPEED_FREQ_HIGH;
  HAL_GPIO_Init(ADC_CS_GPIO_Port, &GPIO_InitStruct);

  /*Configure GPIO pins : CPRG_EN_Pin VPRG_LD_Pin CPRG_LD_Pin */
  GPIO_InitStruct.Pin = CPRG_EN_Pin|VPRG_LD_Pin|CPRG_LD_Pin;
  GPIO_InitStruct.Mode = GPIO_MODE_OUTPUT_OD;
  GPIO_InitStruct.Pull = GPIO_NOPULL;
  GPIO_InitStruct.Speed = GPIO_SPEED_FREQ_HIGH;
  HAL_GPIO_Init(GPIOC, &GPIO_InitStruct);

  /*Configure GPIO pin : CV_MD_Pin */
  GPIO_InitStruct.Pin = CV_MD_Pin;
  GPIO_InitStruct.Mode = GPIO_MODE_OUTPUT_PP;
  GPIO_InitStruct.Pull = GPIO_NOPULL;
  GPIO_InitStruct.Speed = GPIO_SPEED_FREQ_LOW;
  HAL_GPIO_Init(CV_MD_GPIO_Port, &GPIO_InitStruct);

  /*Configure GPIO pins : OV_Pin CC_MD_Pin */
  GPIO_InitStruct.Pin = OV_Pin|CC_MD_Pin;
  GPIO_InitStruct.Mode = GPIO_MODE_INPUT;
  GPIO_InitStruct.Pull = GPIO_NOPULL;
  HAL_GPIO_Init(GPIOC, &GPIO_InitStruct);

  /*Configure GPIO pin : VPRG_EN_Pin */
  GPIO_InitStruct.Pin = VPRG_EN_Pin;
  GPIO_InitStruct.Mode = GPIO_MODE_OUTPUT_OD;
  GPIO_InitStruct.Pull = GPIO_NOPULL;
  GPIO_InitStruct.Speed = GPIO_SPEED_FREQ_HIGH;
  HAL_GPIO_Init(VPRG_EN_GPIO_Port, &GPIO_InitStruct);

  /*Configure GPIO pin : ADS_LD_Pin */
  GPIO_InitStruct.Pin = ADS_LD_Pin;
  GPIO_InitStruct.Mode = GPIO_MODE_OUTPUT_OD;
  GPIO_InitStruct.Pull = GPIO_NOPULL;
  GPIO_InitStruct.Speed = GPIO_SPEED_FREQ_HIGH;
  HAL_GPIO_Init(ADS_LD_GPIO_Port, &GPIO_InitStruct);

}

/* USER CODE BEGIN 4 */

/* Can  ---------------------------------------------------------------------*/
/**
  * @brief  Rx Fifo 0 message pending callback
  */
void HAL_CAN_RxFifo0MsgPendingCallback(CAN_HandleTypeDef *hcan)
{
  CAN_RxHeaderTypeDef rxHeader;
  uint8_t data[8];

  if (HAL_CAN_GetRxMessage(hcan, CAN_RX_FIFO0, &rxHeader, data) != HAL_OK)
  {
    DeviceErrLog("HAL_CAN_RxCpltCallback.HAL_CAN_Receive_IT");
  }

//  StringPlusDataToHexaString(data, StringBuffer, 8);
//  DeviceDbgLog("0x%08X %s",rxHeader.ExtId, StringBuffer);

  if(Device.PowerCtrl.State.Curr == SDEV_IDLE)
  {
    if(GetNodeAddress(rxHeader.ExtId) == Device.ThisNode)
      CanNetReadMsgLowLevel(&Device.CanNet,rxHeader.ExtId, data, rxHeader.DLC);
    else if(IsBroadcasMsg(rxHeader.ExtId))
      CanNetReadMsgLowLevel(&Device.CanNet,rxHeader.ExtId, data, rxHeader.DLC);
  }
}

uint8_t CanNetLowLevelTxMailboxIsEmpty(void)
{
  if(HAL_CAN_GetTxMailboxesFreeLevel(&hcan) != 0)
    return CANNET_EMPTY;
  else
    return CANNET_FULL;
}

uint8_t CanNetWriteMsgLowLevel(uint32_t arbId, uint8_t *data, size_t size)
{
  CAN_TxHeaderTypeDef txHeader;
  txHeader.StdId = 0x000;
  txHeader.ExtId = arbId;
  txHeader.RTR = CAN_RTR_DATA;
  txHeader.IDE = CAN_ID_EXT;
  txHeader.DLC = size;
  txHeader.TransmitGlobalTime = DISABLE;
  uint32_t txMailbox;

  if (HAL_CAN_AddTxMessage(&hcan, &txHeader, data, &txMailbox) != HAL_OK)
    return DEVICE_FAIL;

return CANNET_OK;
}

void HAL_CAN_ErrorCallback(CAN_HandleTypeDef *hcan)
{
  DeviceErrLog("HAL_CAN_ErrorCallback ErrorCode: 0x%02lX" ,hcan->ErrorCode);
}

void CanDiagTask(CanHandle_Type *context)
{
  static int32_t timestamp;
  if(HAL_GetTick() - timestamp > 1000)
  {
    timestamp = HAL_GetTick();
    context->RxErrCnt = (hcan.Instance->ESR & CAN_ESR_REC) >> 24;
    context->TxErrCnt = (hcan.Instance->ESR & CAN_ESR_TEC) >> 16;
  }
}

void SwitchesSet(uint8_t mask)
{
  Device.SwitchesState |= mask;
  SwitchesUpdate(Device.SwitchesState);
}

void SwitchesClear(uint8_t mask)
{
  Device.SwitchesState &= ~mask;
  SwitchesUpdate(Device.SwitchesState);
}

uint8_t SelectorGet(void)
{
  return Device.SwitchesState;
}

double AdcGetVoltGen(void)
{
  static double meas = 0;
  uint32_t adcval = AdcGetValue();
  if((adcval & 0x80000000) != 0x80000000)
  {/*** End Of Conversion ***/

    if((adcval & 0xF0000000) == 0x20000000)
    {/*** 0 < Vin < VREF ***/
      /*** Status bits not need ***/
      adcval &=0x0FFFFFFF;
      double nanovolt = adcval * 18.626; //(nV)
      meas = nanovolt * 1E-9;
    }
    else if((adcval & 0xF0000000) == 0x30000000)
    {
      /*** Vin > VREF ***/
      meas = 5.0;
    }
    else if ((adcval & 0xF0000000) == 0x10000000)
    {
      /*** Vin < 0 ***/
      meas = -0;
    }
  }
  else
  {
    /*** Conversion In progress ***/
     meas = -2;
  }
  return meas;
}

double AdcGetVolt(void)
{
  static double CVmeas = 0;
  uint32_t adcval = AdcGetValue();
  DelayMs(300); /*** 160msec még kevés ***/
  adcval = AdcGetValue();
  if((adcval & 0x80000000) != 0x80000000)
  {/*** End Of Conversion ***/

    if((adcval & 0xF0000000) == 0x20000000)
    {/*** 0 < Vin < VREF ***/
      /*** Status bits not need ***/
      adcval &=0x0FFFFFFF;
      double nanovolt = adcval * 18.626; //(nV)
      CVmeas = nanovolt * 1E-9;
    }
    else if((adcval & 0xF0000000) == 0x30000000)
    {
      /*** Vin > VREF ***/
      CVmeas = 5.0;
    }
    else if ((adcval & 0xF0000000) == 0x10000000)
    {
      /*** Vin < 0 ***/
      CVmeas = -0;
    }
  }
  else
  {
    /*** Conversion In progress ***/
     CVmeas = -2;
  }

  return CVmeas;
}

uint32_t VDacSetVolt(float volt)
{
  uint32_t code = volt /(BSP_VREF/65536);
  if(volt < 0)
    code = 0;
  if(volt> 4.99999)
    code = 0xFFFF;
  VDacSet(code);
return code;
}

uint32_t CDacSetVolt(float volt)
{
  uint32_t code = volt /(BSP_VREF/65536);
  if(volt < 0)
    code = 0;
  if(volt> 4.99999)
    code = 0xFFFF;
  CDacSet(code);
return code;
}

void SwitchesUpdate(uint8_t data)
{
  uint8_t dummy[sizeof(data)];
  memset(dummy,0x00,sizeof(data));
  HAL_SPI_TransmitReceive(&hspi2, (uint8_t*)&data, dummy, sizeof(data), 100);
  HAL_GPIO_WritePin(ADS_LD_GPIO_Port, ADS_LD_Pin, GPIO_PIN_SET);
  HAL_GPIO_WritePin(ADS_LD_GPIO_Port, ADS_LD_Pin, GPIO_PIN_RESET);
}

uint32_t AdcGetValue(void)
{
  uint32_t retval = 0;
  uint8_t i,j;
  uint8_t dummy[sizeof(retval)];
  uint8_t temp[sizeof(retval)], reverse[sizeof(retval)];
  memset(dummy,0x00,sizeof(retval));

  HAL_GPIO_WritePin(ADC_CS_GPIO_Port, ADC_CS_Pin, GPIO_PIN_RESET);
  HAL_SPI_TransmitReceive(&hspi2, dummy, temp, sizeof(retval), 100);
  HAL_GPIO_WritePin(ADC_CS_GPIO_Port, ADC_CS_Pin, GPIO_PIN_SET);

  j = sizeof(temp)-1;
  for(i=0; i  <sizeof(temp); i++)
    reverse[j--] = *(temp + i);

  return *((uint32_t*)&reverse);
}

void VDacSet(uint16_t data)
{

/*
 * VREF x (1/65,536) = 0xFFFF
 * VREF x (1/65,536) = 0x8000 => 0.5*VREF
 * VREF x (1/65,536)
*/
  uint8_t i,j;
  uint8_t reverse[sizeof(data)];
  uint8_t dummy[sizeof(data)];
  memset(dummy,0x00,sizeof(data));

  uint8_t  *ptr = (uint8_t *)&data;
  j = sizeof(data)-1;
  for(i=0; i<sizeof(data); i++)
    reverse[j--] = *(ptr + i);

  /*VPROG_EN# -> Select */
  HAL_GPIO_WritePin(VPRG_EN_GPIO_Port, VPRG_EN_Pin, GPIO_PIN_RESET);
  HAL_SPI_TransmitReceive(&hspi2, reverse, dummy, sizeof(data), 100);
  /*VPROG_EN# -> Select */
  HAL_GPIO_WritePin(VPRG_EN_GPIO_Port, VPRG_EN_Pin, GPIO_PIN_SET);
  HAL_GPIO_WritePin(VPRG_LD_GPIO_Port, VPRG_LD_Pin, GPIO_PIN_RESET);
  /* DAC Load  H->L->H*/
  HAL_GPIO_WritePin(VPRG_LD_GPIO_Port, VPRG_LD_Pin, GPIO_PIN_RESET);
  HAL_GPIO_WritePin(VPRG_LD_GPIO_Port, VPRG_LD_Pin, GPIO_PIN_SET);
}

void CDacSet(uint16_t data)
{
  uint8_t i,j;
  uint8_t reverse[sizeof(data)];
  uint8_t dummy[sizeof(data)];
  memset(dummy,0x00,sizeof(data));

  uint8_t  *ptr = (uint8_t*)&data;
  j = sizeof(data)-1;
  for(i=0; i<sizeof(data); i++)
    reverse[j--] = *(ptr + i);

  /*CPROG_EN# -> Select */
  HAL_GPIO_WritePin(CPRG_EN_GPIO_Port, CPRG_EN_Pin, GPIO_PIN_RESET);
  HAL_SPI_TransmitReceive(&hspi2, reverse, dummy, sizeof(data), 100);
  /*CPROG_EN# -> Select */
  HAL_GPIO_WritePin(CPRG_EN_GPIO_Port, CPRG_EN_Pin, GPIO_PIN_SET);
  /* DAC Load  H->L->H*/
  HAL_GPIO_WritePin(CPRG_LD_GPIO_Port, CPRG_LD_Pin, GPIO_PIN_RESET);
  HAL_GPIO_WritePin(CPRG_LD_GPIO_Port, CPRG_LD_Pin, GPIO_PIN_SET);
}

/* printf -------------------------------------------------------------------*/
int _write(int file, char *ptr, int len)
{
  HAL_UART_Transmit(&huart1, (uint8_t*)ptr, len, 100);
  return len;
}

void ConsoleWrite(char *str)
{
  HAL_UART_Transmit(&huart1, (uint8_t*)str, strlen(str), 100);
}

/* LEDs ---------------------------------------------------------------------*/
void LiveLedOn(void)
{
  HAL_GPIO_WritePin(LIVE_LED_GPIO_Port, LIVE_LED_Pin, GPIO_PIN_SET);
}

void LiveLedOff(void)
{
  HAL_GPIO_WritePin(LIVE_LED_GPIO_Port, LIVE_LED_Pin, GPIO_PIN_RESET);
}

void LedGreenOn(void)
{
  HAL_GPIO_WritePin(LED_G_GPIO_Port, LED_G_Pin, GPIO_PIN_SET);
}

void LedGreenOff(void)
{
  HAL_GPIO_WritePin(LED_G_GPIO_Port, LED_G_Pin, GPIO_PIN_RESET);
}

void LedRedOn(void)
{
  HAL_GPIO_WritePin(LED_R_GPIO_Port, LED_R_Pin, GPIO_PIN_SET);
}

void LedRedOff(void)
{
  HAL_GPIO_WritePin(LED_R_GPIO_Port, LED_R_Pin, GPIO_PIN_RESET);
}

/* PS ---------------------------------------------------------------------*/
void Ps1On(void)
{
  HAL_GPIO_WritePin(PS1ON_GPIO_Port, PS1ON_Pin, GPIO_PIN_SET);
}

void Ps1Off(void)
{
  HAL_GPIO_WritePin(PS1ON_GPIO_Port, PS1ON_Pin, GPIO_PIN_RESET);
}

void Ps2On(void)
{
  HAL_GPIO_WritePin(PS2ON_GPIO_Port, PS2ON_Pin, GPIO_PIN_SET);
}

void Ps2Off(void)
{
  HAL_GPIO_WritePin(PS2ON_GPIO_Port, PS2ON_Pin, GPIO_PIN_RESET);
}

/* MCP9800 -----------------------------------------------------------*/
const uint8_t MCP9800_DEV_ADDR = 0x48 << 1; /*** A0 ***/

void Mcp9800Config (I2C_HandleTypeDef *hi2c)
{
  uint8_t REG_CONF = 0x00; /*** ADC:12bit  ***/
  const uint8_t REG_CONF_ADDR = 0x01 ;
  uint8_t error = 0;

  while(HAL_I2C_Mem_Write(hi2c, MCP9800_DEV_ADDR, REG_CONF_ADDR, I2C_MEMADD_SIZE_8BIT, &REG_CONF, sizeof(REG_CONF), 100)!= HAL_OK)
  {
    if (( error = HAL_I2C_GetError(hi2c)) != HAL_I2C_ERROR_AF)
    {
      DeviceErrLog("Mcp9800Meas.HAL_I2C_Mem_Read Error Code:%d", error);
      break;
    }
  }
}

float Mcp9800Meas(I2C_HandleTypeDef *hi2c)
{
  const uint8_t REG_TA_ADDR = 0x00 ;
  float ta = 0.0;
  uint8_t data[2] = {0 , 0};
  uint8_t error = 0;
  // microchip sample value 0x194 = 25.25C (LSB:0.0625)
  while(HAL_I2C_Mem_Read(hi2c, MCP9800_DEV_ADDR, REG_TA_ADDR, I2C_MEMADD_SIZE_8BIT, data, sizeof(data), 100)!= HAL_OK)
  {
    if ((error = HAL_I2C_GetError(hi2c)) != HAL_I2C_ERROR_AF)
    {
      DeviceErrLog("Mcp9800Meas.HAL_I2C_Mem_Read Error Code:%d", error);
      ta = -1;
      break;
    }
  }
  if(ta != -1)
    ta = (((data[0] << 4) | (data[1] >> 4)) & ~0x800) * 0.0625;
  return ta;
}

/* USER CODE END 4 */

void Error_Handler(void)
{
}

/************************ (C) COPYRIGHT STMicroelectronics *****END OF FILE****/
